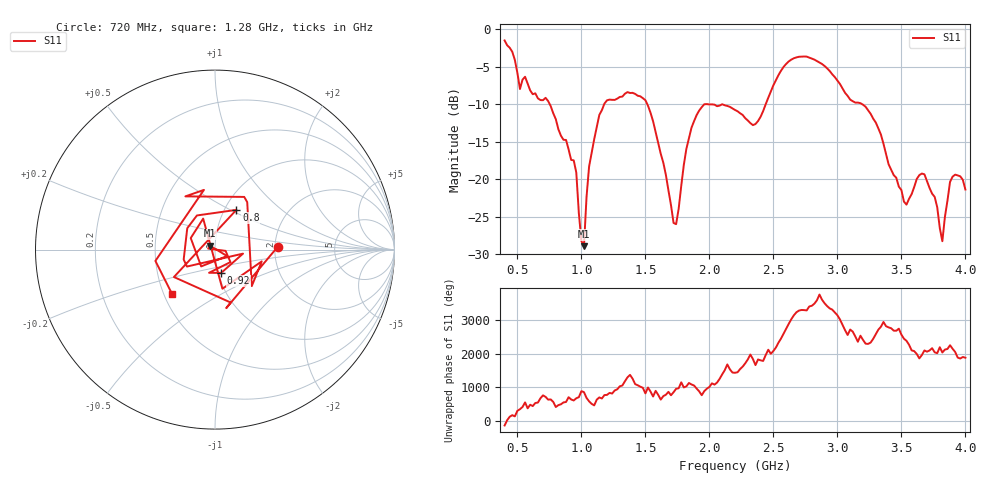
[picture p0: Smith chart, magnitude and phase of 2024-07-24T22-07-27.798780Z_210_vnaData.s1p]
!Created with skrf (http://scikit-rf.org).
# Hz S RI R 50.0
!freq ReS11 ImS11
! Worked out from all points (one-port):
!   181 points, 400 MHz to 4 GHz, reference 50 ohm
!   lowest |S11| = -28.9 dB at 1.02 GHz (marker M1), VSWR 1.07, Z = 47.2 + j2.07 ohm
!   |S11| at or under -10 dB: 1.515 GHz to 1.962 GHz (447.2 MHz wide, 25.7 % of centre); 1.988 GHz to 2.44 GHz (452.3 MHz wide, 20.4 % of centre); 3.194 GHz to end of sweep (the widest 3 of 4)
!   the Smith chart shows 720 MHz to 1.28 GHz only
!   S11 on the Smith chart (normalised r, x): 720 MHz: 2.07, +0.07; 800 MHz: 1.14, +0.54; 920 MHz: 1.03, -0.27; 1.28 GHz: 0.55, -0.31
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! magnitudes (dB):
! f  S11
! 400 MHz  -1.5
! 520 MHz  -8.0
! 720 MHz  -9.1
! 800 MHz  -12.0
! 860 MHz  -14.7
! 920 MHz  -17.4
! 960 MHz  -19.1
! 1 GHz  -28.3
! 1.02 GHz  -28.9
! 1.06 GHz  -18.3
! 1.14 GHz  -11.4
! 1.28 GHz  -9.3
! 1.3 GHz  -9.0
! 1.5 GHz  -9.5
! 1.72 GHz  -25.8
! 1.76 GHz  -23.9
! 1.82 GHz  -16.0
! 1.92 GHz  -10.9
! 2.2 GHz  -10.8
! 2.36 GHz  -12.6
! 2.66 GHz  -3.9
! 3.1 GHz  -9.4
! 3.26 GHz  -11.3
! 3.56 GHz  -22.6
! 3.68 GHz  -19.4
! 3.82 GHz  -28.3
! 3.88 GHz  -20.4
! 4 GHz  -21.4
